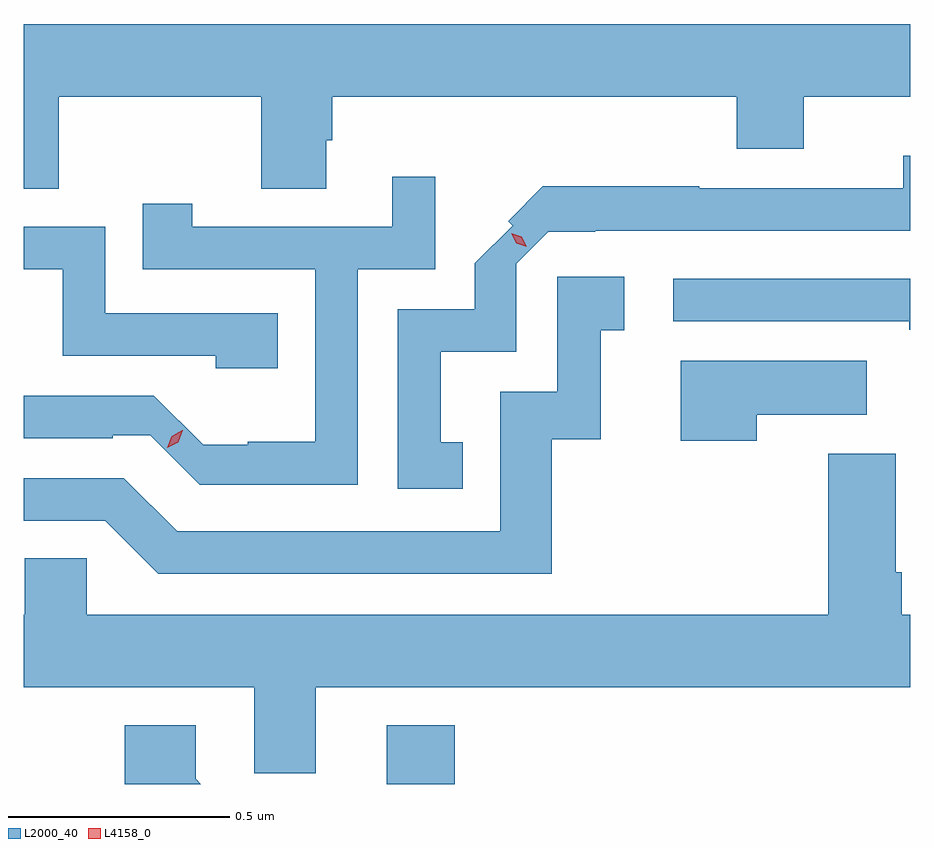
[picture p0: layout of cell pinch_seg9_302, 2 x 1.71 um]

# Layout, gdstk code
import gdstk
lib = gdstk.Library(unit=1e-6, precision=1e-09)
def R(c, l, rs):  # rectangles x0, y0, x1, y1
    for r in rs: c.add(gdstk.rectangle(r[:2], r[2:], *l))
def P(c, l, *ps):  # polygons
    for p in ps: c.add(gdstk.Polygon(p, *l))
L2000_40 = (2000, 40)
L4158_0 = (4158, 0)

pinch_seg9_302 = lib.new_cell('pinch_seg9_302')
R(pinch_seg9_302, L2000_40, [(509.003,1181.55,509.156,1181.683)])
P(pinch_seg9_302, L2000_40, [(508.184,1182.892),(508.263,1182.892),(508.263,1183.1),(508.72,1183.1),(508.72,1182.892),(508.867,1182.892),(508.867,1183.002),(508.88,1183.002),(508.88,1183.1),(509.792,1183.1),(509.792,1182.983),(509.944,1182.983),(509.944,1183.1),(510.184,1183.1),(510.184,1183.264),(508.184,1183.264)],
  [(509.174,1182.321),(509.125,1182.321),(509.125,1182.525),(509.295,1182.525),(509.295,1182.723),(509.367,1182.795),(509.473,1182.795),(509.473,1182.798),(510.184,1182.798),(510.184,1182.967),(510.168,1182.967),(510.168,1182.894),(509.708,1182.894),(509.708,1182.898),(509.355,1182.898),(509.277,1182.819),(509.287,1182.809),(509.202,1182.724),(509.202,1182.621),(509.028,1182.621),(509.028,1182.216),(509.174,1182.216)],
  [(508.938,1182.711),(509.112,1182.711),(509.112,1182.919),(509.015,1182.919),(509.015,1182.807),(508.564,1182.807),(508.564,1182.859),(508.453,1182.859),(508.453,1182.711),(508.842,1182.711),(508.842,1182.322),(508.69,1182.322),(508.69,1182.315),(508.589,1182.315),(508.478,1182.426),(508.184,1182.426),(508.184,1182.33),(508.385,1182.33),(508.385,1182.336),(508.47,1182.336),(508.581,1182.225),(508.938,1182.225)],
  [(508.757,1182.612),(508.368,1182.612),(508.368,1182.807),(508.184,1182.807),(508.184,1182.711),(508.272,1182.711),(508.272,1182.516),(508.617,1182.516),(508.617,1182.488),(508.757,1182.488)],
  [(509.375,1182.327),(509.486,1182.327),(509.486,1182.573),(509.539,1182.573),(509.539,1182.694),(509.388,1182.694),(509.388,1182.435),(509.259,1182.435),(509.259,1182.12),(508.53,1182.12),(508.41,1182.24),(508.184,1182.24),(508.184,1182.144),(508.368,1182.144),(508.488,1182.024),(509.375,1182.024)],
  [(510.184,1182.69),(509.649,1182.69),(509.649,1182.594),(510.181,1182.594),(510.181,1182.574),(510.184,1182.574)],
  [(509.837,1182.383),(510.085,1182.383),(510.085,1182.505),(509.666,1182.505),(509.666,1182.324),(509.837,1182.324)],
  [(508.843,1181.768),(510.184,1181.768),(510.184,1181.932),(510.164,1181.932),(510.164,1182.028),(510.151,1182.028),(510.151,1182.295),(509.999,1182.295),(509.999,1181.932),(508.326,1181.932),(508.326,1182.059),(508.187,1182.059),(508.187,1181.932),(508.184,1181.932),(508.184,1181.768),(508.704,1181.768),(508.704,1181.574),(508.843,1181.574)],
  [(508.572,1181.562),(508.572,1181.683),(508.412,1181.683),(508.412,1181.55),(508.584,1181.55)])
P(pinch_seg9_302, L4158_0, [(509.319,1182.762),(509.295,1182.77),(509.284,1182.792),(509.284,1182.792),(509.284,1182.792),(509.308,1182.784),(509.319,1182.762),(509.319,1182.762)],
  [(508.508,1182.308),(508.508,1182.308),(508.518,1182.334),(508.542,1182.348),(508.543,1182.348),(508.543,1182.348),(508.533,1182.321),(508.508,1182.308)])

lib.write_gds('pinch_seg9_302.gds')
